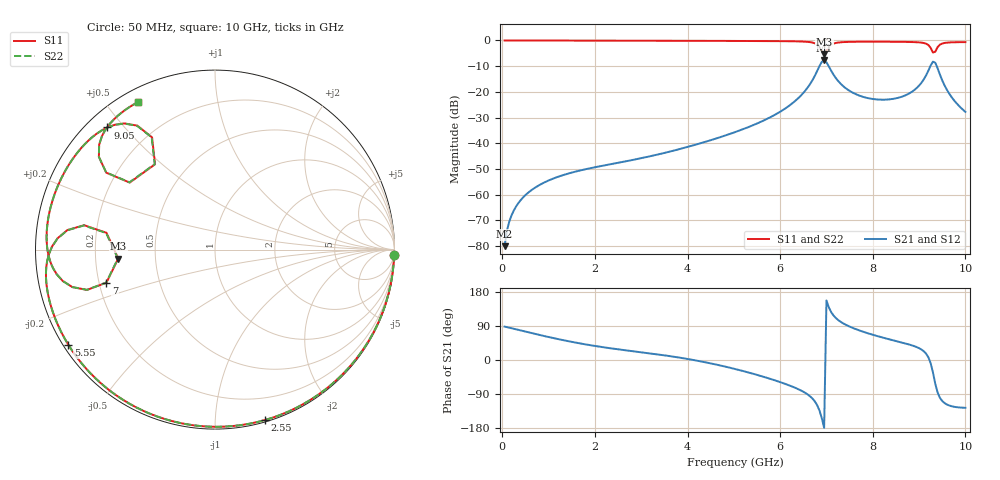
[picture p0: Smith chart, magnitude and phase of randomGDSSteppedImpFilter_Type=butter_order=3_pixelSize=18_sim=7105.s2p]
! freq	dB(S11)	phase(S11)	dB(S12)	phase(S12)
!  dB(S21)	phase(S21)	dB(S22)	phase(S22)
!S-par simulation data
#  GHz  S  DB  R 50
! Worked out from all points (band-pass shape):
!   200 points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, 50 MHz to 10 GHz, reference 50 ohm
!   highest |S21| = -7.72 dB at 6.95 GHz (marker M1); lowest = -80.1 dB at 50 MHz (marker M2)
!   |S21| within 3 dB of the highest: 6.83 GHz to 7.069 GHz (239 MHz wide, 3.44 % of centre); 9.226 GHz to 9.397 GHz (171 MHz wide, 1.84 % of centre)
!   lowest |S11| = -5.3 dB at 6.95 GHz (marker M3), VSWR 3.36, Z = 14.9 - j2.1 ohm
!   |S11| at or under -10 dB: nowhere
!   |S22| runs from -5.3 to 0.0 dB; largest |S21 - S12| = 0
!   S11 on the Smith chart (normalised r, x): 50 MHz: 3, -73; 2.55 GHz: 0.01, -1.33; 5.55 GHz: 0.01, -0.30; 7 GHz: 0.23, -0.14; 9.05 GHz: 0.06, +0.45; 10 GHz: 0.05, +0.60
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0.05  -0.01 -1.6  -80.09 88.0  -80.09 88.0  -0.01 -1.6
0.1  -0.01 -3.1  -74.08 86.7  -74.08 86.7  -0.01 -3.1
0.2  -0.02 -6.1  -68.07 83.8  -68.07 83.8  -0.02 -6.1
0.5  -0.02 -15.2  -60.21 74.9  -60.21 74.9  -0.02 -15.2
1.75  -0.06 -51.8  -50.33 42.2  -50.33 42.2  -0.06 -51.8
2.55  -0.09 -73.8  -47.46 27.4  -47.46 27.4  -0.09 -73.8
3.4  -0.12 -95.8  -44.23 14.0  -44.23 14.0  -0.12 -95.8
5.05  -0.19 -135.3  -35.54 -24.4  -35.54 -24.4  -0.19 -135.3
5.55  -0.23 -147.0  -31.95 -41.0  -31.95 -41.0  -0.23 -147.0
6.25  -0.32 -164.5  -24.67 -69.6  -24.67 -69.6  -0.32 -164.4
6.7  -0.83 179.0  -15.40 -102.1  -15.40 -102.1  -0.83 179.0
6.85  -2.60 169.4  -9.96 -133.7  -9.96 -133.7  -2.59 169.6
6.95  -5.33 -174.7  -7.72 -179.0  -7.72 -179.0  -5.30 -174.7
7  -3.98 -163.1  -8.51 157.2  -8.51 157.2  -3.96 -163.1
7.2  -0.99 -171.1  -14.59 111.1  -14.59 111.1  -0.99 -171.1
7.5  -0.55 177.2  -19.63 88.2  -19.63 88.2  -0.55 177.2
8.35  -0.50 153.9  -22.96 54.8  -22.96 54.8  -0.50 153.9
9.05  -0.85 131.4  -16.50 27.8  -16.50 27.8  -0.85 131.4
9.25  -2.89 119.3  -9.75 -8.3  -9.75 -8.3  -2.88 119.4
9.35  -4.37 141.9  -8.70 -63.0  -8.70 -63.0  -4.35 141.8
9.5  -1.20 137.8  -15.56 -108.3  -15.56 -108.3  -1.20 137.8
10  -0.66 117.6  -27.83 -126.1  -27.83 -126.1  -0.66 117.7
